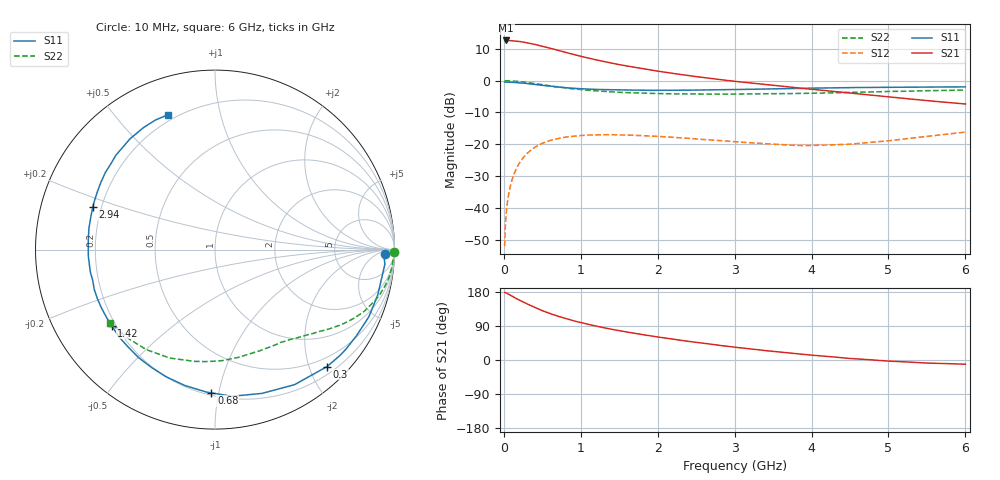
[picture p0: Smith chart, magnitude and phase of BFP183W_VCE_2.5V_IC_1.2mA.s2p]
! Infineon Technologies  Discrete & RF Semiconductors
! BFP183W
! VCE = 2.5 V,  IC =  1.2 mA
! Common Emitter S-Parameters:  Jan 2016
# GHz  S  MA  R  50
!  f  S11  S21  S12  S22
! GHz  MAG  ANG  MAG  ANG  MAG  ANG  MAG  ANG
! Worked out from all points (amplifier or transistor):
!   210 points, 10 MHz to 6 GHz, reference 50 ohm
!   highest |S21| = 12.6 dB at 30 MHz (marker M1)
!   |S21| within 3 dB of that: start of sweep to 691.2 MHz
!   unconditionally stable (mu >= 1): 2.628 GHz to end of sweep
!   at 185 MHz: K = 0.08, MSG = 19.5 dB, |S12| = -26.7 dB
!   at 1.52 GHz: K = 0.56, MSG = 11.0 dB, |S12| = -17.1 dB
!   at 6 GHz: K = 1.11, MAG = 2.4 dB, |S12| = -16.2 dB
!   S11 on the Smith chart (normalised r, x): 10 MHz: 31, -16; 300 MHz: 0.33, -2.31; 680 MHz: 0.22, -0.95; 1.42 GHz: 0.18, -0.32; 2.94 GHz: 0.17, +0.16; 6 GHz: 0.17, +0.70
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0.01  0.9496 -1.5  4.24 178.3  0.0025 89.4  0.9992 -0.7
0.02  0.9444 -3.1  4.266 178.0  0.0052 89.4  0.9938 -1.3
0.03  0.95 -4.9  4.277 176.9  0.0079 87.5  0.9974 -1.9
0.065  0.9415 -10.4  4.256 173.1  0.017 82.6  0.9927 -4.0
0.115  0.9377 -18.1  4.219 167.5  0.0295 78.5  0.9865 -7.1
0.2  0.9228 -31.4  4.123 158.1  0.05 71.3  0.9685 -12.1
0.3  0.9026 -46.2  3.929 148.0  0.0716 62.4  0.9369 -17.5
0.4  0.8735 -59.5  3.716 138.9  0.0894 54.8  0.9011 -22.3
0.5  0.8428 -71.9  3.469 130.1  0.1035 47.9  0.8636 -26.3
0.68  0.7986 -91.4  3.051 117.2  0.1212 37.7  0.8023 -32.1
0.8  0.7757 -102.5  2.781 109.5  0.1294 31.9  0.7671 -35.5
1.02  0.7435 -119.6  2.378 97.8  0.1374 23.4  0.7183 -40.6
1.2  0.7271 -131.7  2.12 89.4  0.1408 17.7  0.6903 -44.2
1.42  0.715 -143.7  1.863 80.4  0.1413 12.5  0.6648 -48.3
1.66  0.7099 -155.6  1.65 71.8  0.1385 8.2  0.6423 -52.6
2.02  0.7053 -170.5  1.398 60.2  0.1325 3.6  0.6252 -58.9
2.4  0.7077 176.5  1.2 49.2  0.124 0.4  0.6166 -66.1
2.94  0.7204 160.8  0.995 35.4  0.111 0.3  0.6135 -76.6
3.1  0.726 156.6  0.948 31.7  0.1075 1.1  0.6145 -80.0
4.1  0.764 134.7  0.712 11.2  0.0963 15.4  0.6349 -102.8
5.1  0.7886 119.3  0.541 -3.8  0.1171 30.9  0.6776 -126.6
6  0.7962 109.1  0.429 -11.1  0.1551 35.2  0.7112 -145.0
